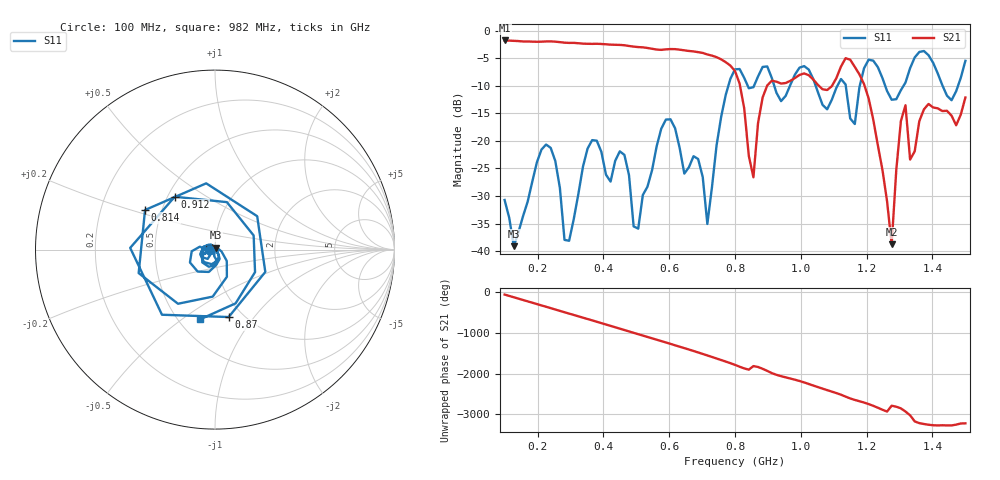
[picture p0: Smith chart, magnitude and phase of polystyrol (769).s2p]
! NanoVNA-App
! Date: 2025-09-25 15:35:52
! Start: 100MHz Stop: 1,5GHz Points: 101
! S-Parameter data: F S11 S21 S12 S22
# Hz S RI R 50
!  Frequency  S11_Real  S11_Imag  S21_Real  S21_Imag  S12_Real  S12_Imag  S22_Real  S22_Imag
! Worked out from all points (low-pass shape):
!   101 points, 100 MHz to 1.5 GHz, reference 50 ohm
!   highest |S21| = -1.80 dB at 100 MHz (marker M1); lowest = -38.7 dB at 1.276 GHz (marker M2)
!   |S21| within 3 dB of the highest: start of sweep to 742.7 MHz
!   lowest |S11| = -39.1 dB at 128 MHz (marker M3), VSWR 1.02, Z = 50.3 + j1.06 ohm
!   |S11| at or under -10 dB: start of sweep to 779.9 MHz; 1.045 GHz to 1.111 GHz (66.3 MHz wide, 6.15 % of centre); 1.256 GHz to 1.312 GHz (55.96 MHz wide, 4.36 % of centre) (the widest 3 of 7)
!   S12 and S22 are empty: the file has one direction only
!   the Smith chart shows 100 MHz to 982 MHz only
!   S11 on the Smith chart (normalised r, x): 100 MHz: 0.94, -0.01; 814 MHz: 0.40, +0.22; 870 MHz: 0.86, -0.76; 912 MHz: 0.54, +0.37; 982 MHz: 0.63, -0.59
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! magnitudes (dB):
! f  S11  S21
! 100 MHz  -30.7  -1.8
! 128 MHz  -39.1  -1.9
! 212 MHz  -21.6  -2.0
! 282 MHz  -37.9  -2.2
! 338 MHz  -24.7  -2.4
! 464 MHz  -22.5  -2.7
! 506 MHz  -35.9  -3.0
! 576 MHz  -17.8  -3.5
! 688 MHz  -23.3  -3.9
! 716 MHz  -35.1  -4.3
! 800 MHz  -7.0  -7.3
! 814 MHz  -7.0  -9.6
! 856 MHz  -10.3  -26.6
! 870 MHz  -8.3  -16.8
! 912 MHz  -8.6  -9.1
! 982 MHz  -8.0  -8.6
! 1.038 GHz  -8.8  -8.9
! 1.178 GHz  -10.3  -7.9
! 1.276 GHz  -12.5  -38.7
! 1.318 GHz  -9.4  -13.5
! 1.332 GHz  -6.8  -23.4
! 1.5 GHz  -5.5  -12.1
